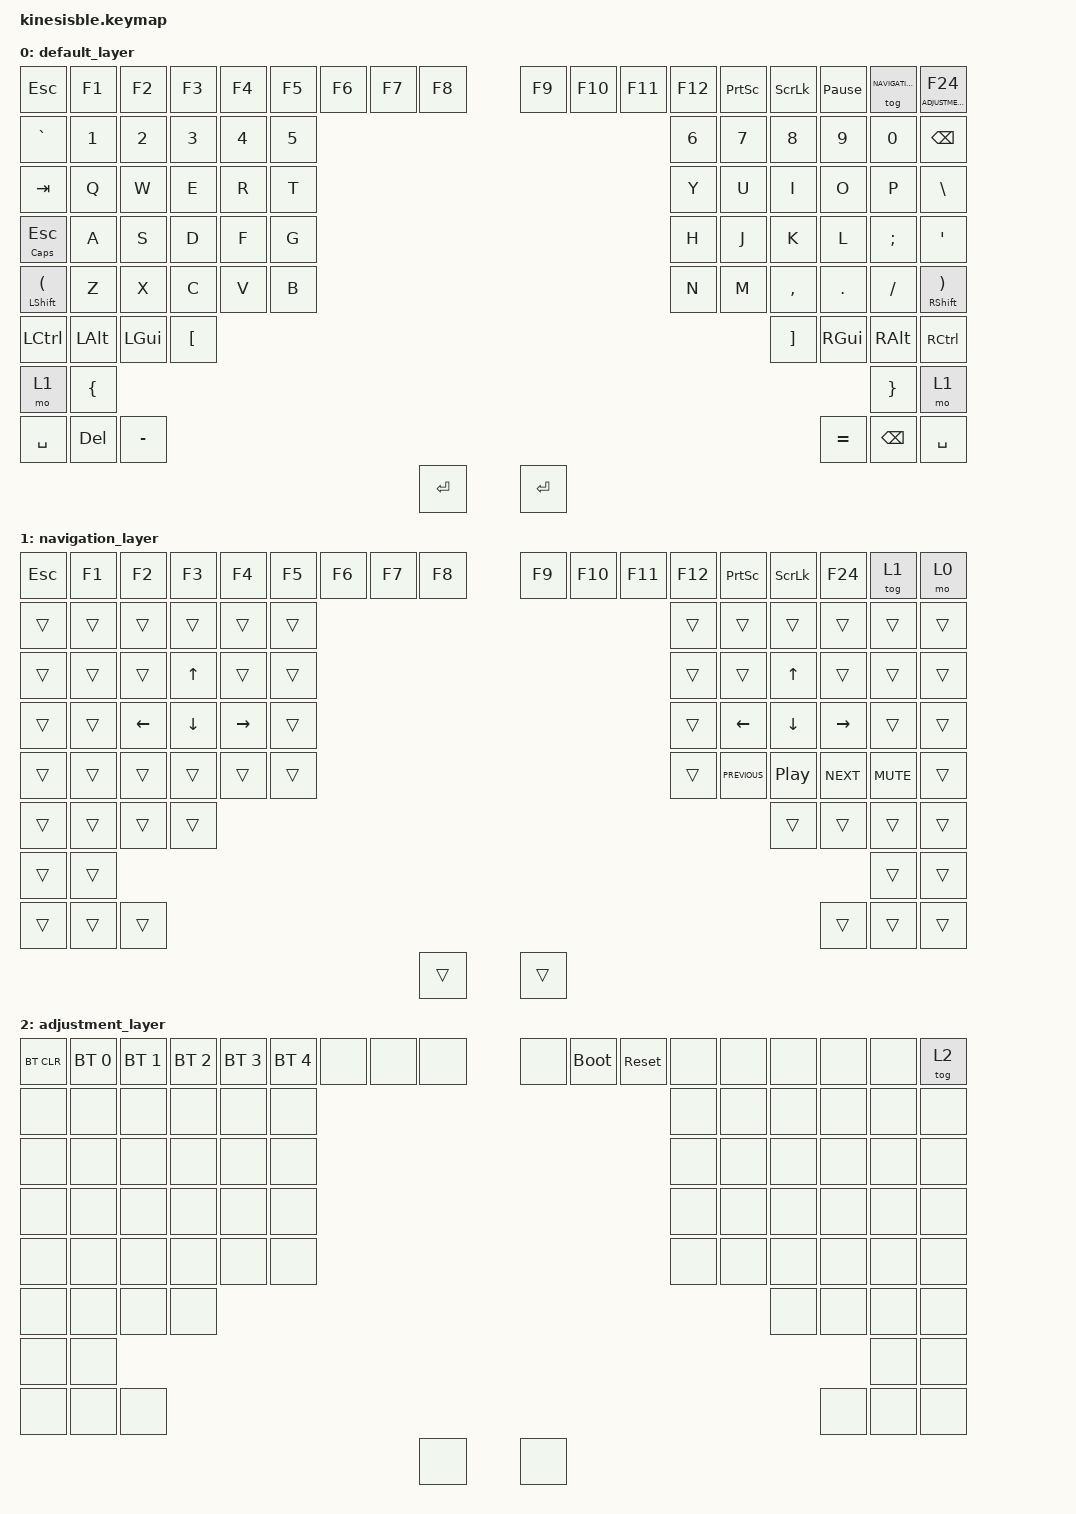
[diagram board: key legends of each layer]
/*
 * Copyright (c) 2021 The ZMK Contributors
 *
 * SPDX-License-Identifier: MIT
 */

#include <behaviors.dtsi>
#include <dt-bindings/zmk/keys.h>
#include <dt-bindings/zmk/bt.h>

#define DEFAULT 0
#define NAVIGATION   1
#define ADJUSTMENT   2


/ {
    behaviors {
        // hold for keypress, tap to toggle layer
        prog_key: program_key {
            compatible = "zmk,behavior-hold-tap";
            #binding-cells = <2>;
            tapping-term-ms = <500>;
            bindings = <&tog>, <&kp>;
            hold-trigger-on-release;
        };
    };

    keymap0: keymap {
        compatible = "zmk,keymap";

        default_layer {
            bindings = <
            &kp ESC &kp F1 &kp F2 &kp F3 &kp F4 &kp F5 &kp F6 &kp F7 &kp F8 &kp F9 &kp F10 &kp F11  &kp F12 &kp PSCRN &kp SLCK &kp PAUSE_BREAK &tog NAVIGATION &prog_key ADJUSTMENT F24
            &kp GRAVE &kp N1    &kp N2   &kp N3    &kp N4    &kp N5          &kp N6   &kp N7   &kp N8    &kp N9   &kp N0   &kp BACKSPACE
            &kp TAB   &kp Q     &kp W    &kp E     &kp R     &kp T           &kp Y    &kp U    &kp I     &kp O    &kp P    &kp BSLH
            &mt CLCK ESC  &kp A     &kp S    &kp D     &kp F     &kp G           &kp H    &kp J    &kp K     &kp L    &kp SEMI &kp SQT
            &mt LSHFT LPAR &kp Z     &kp X    &kp C     &kp V     &kp B           &kp N    &kp M    &kp COMMA &kp DOT  &kp FSLH &mt RSHFT RPAR
            &kp LCTRL &kp LALT &kp LGUI  &kp LEFT_BRACKET                          &kp RIGHT_BRACKET   &kp RGUI  &kp RALT &kp RCTRL
            &mo 1 &kp LEFT_BRACE        &kp RIGHT_BRACE &mo 1
            &kp SPACE  &kp DEL   &kp MINUS        &kp EQUAL &kp BSPC &kp SPACE
            &kp ENTER         &kp ENTER
            >;
        };

        navigation_layer {
            bindings = <
            &kp ESC &kp F1 &kp F2 &kp F3 &kp F4 &kp F5 &kp F6 &kp F7 &kp F8 &kp F9 &kp F10 &kp F11  &kp F12 &kp PSCRN &kp SLCK &kp F24 &tog 1 &mo 0
            &trans  &trans  &trans    &trans   &trans  &trans                             &trans     &trans   &trans    &trans     &trans    &trans
            &trans  &trans  &trans    &kp UP   &trans  &trans                            &trans          &trans            &kp UP      &trans      &trans  &trans
            &trans  &trans  &kp LEFT  &kp DOWN  &kp RIGHT &trans                          &trans        &kp LEFT          &kp DOWN   &kp RIGHT      &trans  &trans
            &trans  &trans  &trans    &trans   &trans  &trans                             &trans  &kp K_PREVIOUS  &kp C_PLAY_PAUSE  &kp C_NEXT  &kp C_MUTE  &trans
            &trans       &trans       &trans      &trans                          &trans      &trans     &trans    &trans
            &trans  &trans          &trans  &trans
            &trans  &trans  &trans          &trans  &trans &trans
            &trans          &trans
            >;
        };
        adjustment_layer {
            bindings = <
            &bt BT_CLR &bt BT_SEL 0  &bt BT_SEL 1  &bt BT_SEL 2  &bt BT_SEL 3  &bt BT_SEL 4 &none &none &none  &none &bootloader &sys_reset  &none &none &none &none &none &tog 2
            &none  &none  &none  &none  &none  &none                                      &none  &none  &none  &none  &none  &none
            &none  &none  &none  &none  &none  &none                                      &none  &none  &none  &none  &none  &none
            &none  &none  &none  &none  &none  &none                                      &none  &none  &none  &none  &none  &none
            &none  &none  &none  &none  &none  &none                                      &none  &none  &none  &none  &none  &none
            &none  &none  &none  &none                                      &none  &none  &none  &none
            &none  &none                        &none  &none
            &none  &none  &none                        &none  &none &none
            &none                        &none
            >;
        };
    };
};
